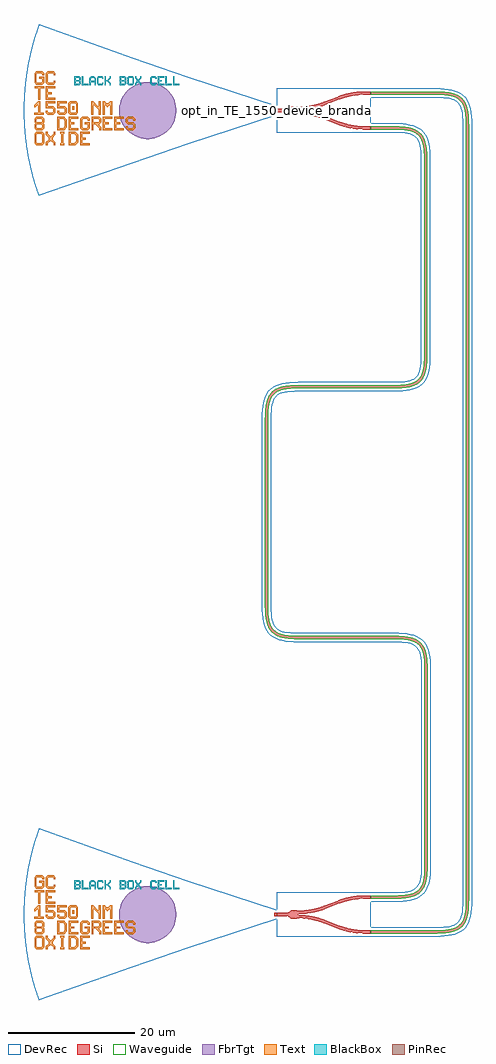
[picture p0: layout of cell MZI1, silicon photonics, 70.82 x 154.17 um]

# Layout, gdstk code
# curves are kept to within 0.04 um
import gdstk
lib = gdstk.Library(unit=1e-6, precision=1e-09)
def R(c, l, rs):  # rectangles x0, y0, x1, y1
    for r in rs: c.add(gdstk.rectangle(r[:2], r[2:], *l))
def P(c, l, *ps):  # polygons
    for p in ps: c.add(gdstk.Polygon(p, *l))
Si = (1, 0)
PinRec = (1, 10)
Waveguide = (1, 99)
Text = (10, 0)
DevRec = (68, 0)
FbrTgt = (81, 0)
BlackBox = (998, 0)

waveguide_26 = lib.new_cell('Waveguide$26')
P(waveguide_26, Si, [(-87.6,66.09),(-87.6,66.59),(-83,66.608),(-81.94,66.703),(-80.965,66.935),(-80.336,67.247),(-79.864,67.673),(-79.516,68.247),(-79.275,68.999),(-79.133,69.955),(-79.081,71.123),(-79.08,102.35),(-79.119,103.557),(-79.276,104.692),(-79.621,105.654),(-79.865,106.018),(-80.163,106.316),(-80.966,106.756),(-81.941,106.988),(-83.613,107.099),(-100.268,107.141),(-101.475,107.308),(-102.323,107.581),(-103.009,107.999),(-103.535,108.579),(-103.85,109.183),(-104.068,109.901),(-104.202,110.737),(-104.271,111.913),(-104.265,142.608),(-104.201,143.574),(-104.067,144.41),(-103.849,145.128),(-103.605,145.621),(-103.202,146.137),(-102.796,146.47),(-102.322,146.73),(-101.628,146.966),(-100.638,147.137),(-99.462,147.206),(-83.89,147.21),(-82.504,147.264),(-81.41,147.439),(-80.586,147.751),(-79.993,148.214),(-79.576,148.867),(-79.368,149.481),(-79.252,150.071),(-79.141,151.743),(-79.14,182.84),(-79.179,184.047),(-79.336,185.182),(-79.577,185.934),(-79.994,186.587),(-80.587,187.05),(-81.278,187.326),(-82.001,187.478),(-83.061,187.573),(-87.6,187.59),(-87.6,188.09),(-83.243,188.081),(-82.1,187.996),(-81.287,187.846),(-80.468,187.551),(-79.907,187.192),(-79.458,186.721),(-79.121,186.138),(-78.885,185.444),(-78.714,184.454),(-78.64,182.84),(-78.641,151.739),(-78.758,149.997),(-78.884,149.357),(-79.12,148.663),(-79.623,147.878),(-80.346,147.313),(-81.286,146.955),(-82.458,146.766),(-83.89,146.71),(-99.452,146.706),(-100.584,146.639),(-101.504,146.482),(-102.118,146.274),(-102.518,146.054),(-102.921,145.707),(-103.234,145.264),(-103.43,144.825),(-103.609,144.157),(-103.765,142.592),(-103.771,111.923),(-103.722,110.965),(-103.58,110.009),(-103.386,109.369),(-103.119,108.857),(-102.693,108.385),(-102.119,108.037),(-101.367,107.796),(-100.232,107.639),(-83.609,107.599),(-81.7,107.455),(-80.533,107.12),(-79.748,106.617),(-79.183,105.894),(-78.955,105.383),(-78.788,104.8),(-78.636,103.782),(-78.58,102.35),(-78.581,71.119),(-78.635,69.909),(-78.787,68.891),(-79.119,67.918),(-79.563,67.258),(-80.169,66.76),(-80.936,66.418),(-81.866,66.209),(-82.978,66.108)])
P(waveguide_26, Waveguide, [(-87.6,66.09),(-87.6,66.59),(-83,66.608),(-81.94,66.703),(-80.965,66.935),(-80.336,67.247),(-79.864,67.673),(-79.516,68.247),(-79.275,68.999),(-79.133,69.955),(-79.081,71.123),(-79.08,102.35),(-79.119,103.557),(-79.276,104.692),(-79.621,105.654),(-79.865,106.018),(-80.163,106.316),(-80.966,106.756),(-81.941,106.988),(-83.613,107.099),(-100.268,107.141),(-101.475,107.308),(-102.323,107.581),(-103.009,107.999),(-103.535,108.579),(-103.85,109.183),(-104.068,109.901),(-104.202,110.737),(-104.271,111.913),(-104.265,142.608),(-104.201,143.574),(-104.067,144.41),(-103.849,145.128),(-103.605,145.621),(-103.202,146.137),(-102.796,146.47),(-102.322,146.73),(-101.628,146.966),(-100.638,147.137),(-99.462,147.206),(-83.89,147.21),(-82.504,147.264),(-81.41,147.439),(-80.586,147.751),(-79.993,148.214),(-79.576,148.867),(-79.368,149.481),(-79.252,150.071),(-79.141,151.743),(-79.14,182.84),(-79.179,184.047),(-79.336,185.182),(-79.577,185.934),(-79.994,186.587),(-80.587,187.05),(-81.278,187.326),(-82.001,187.478),(-83.061,187.573),(-87.6,187.59),(-87.6,188.09),(-83.243,188.081),(-82.1,187.996),(-81.287,187.846),(-80.468,187.551),(-79.907,187.192),(-79.458,186.721),(-79.121,186.138),(-78.885,185.444),(-78.714,184.454),(-78.64,182.84),(-78.641,151.739),(-78.758,149.997),(-78.884,149.357),(-79.12,148.663),(-79.623,147.878),(-80.346,147.313),(-81.286,146.955),(-82.458,146.766),(-83.89,146.71),(-99.452,146.706),(-100.584,146.639),(-101.504,146.482),(-102.118,146.274),(-102.518,146.054),(-102.921,145.707),(-103.234,145.264),(-103.43,144.825),(-103.609,144.157),(-103.765,142.592),(-103.771,111.923),(-103.722,110.965),(-103.58,110.009),(-103.386,109.369),(-103.119,108.857),(-102.693,108.385),(-102.119,108.037),(-101.367,107.796),(-100.232,107.639),(-83.609,107.599),(-81.7,107.455),(-80.533,107.12),(-79.748,106.617),(-79.183,105.894),(-78.955,105.383),(-78.788,104.8),(-78.636,103.782),(-78.58,102.35),(-78.581,71.119),(-78.635,69.909),(-78.787,68.891),(-79.119,67.918),(-79.563,67.258),(-80.169,66.76),(-80.936,66.418),(-81.866,66.209),(-82.978,66.108)])
P(waveguide_26, DevRec, [(-87.6,65.59),(-87.6,67.09),(-83.18,67.101),(-82.085,67.188),(-81.254,67.366),(-80.671,67.626),(-80.272,67.965),(-79.975,68.445),(-79.755,69.147),(-79.622,70.11),(-79.58,71.34),(-79.58,102.35),(-79.623,103.581),(-79.756,104.544),(-79.976,105.246),(-80.273,105.726),(-80.455,105.908),(-80.935,106.205),(-81.255,106.325),(-82.086,106.503),(-83.83,106.6),(-99.026,106.6),(-100.376,106.647),(-101.535,106.81),(-102.535,107.128),(-103.375,107.653),(-104.014,108.4),(-104.248,108.841),(-104.566,109.841),(-104.765,111.649),(-104.764,142.662),(-104.565,144.47),(-104.247,145.47),(-104.013,145.911),(-103.722,146.31),(-102.975,146.949),(-102.534,147.183),(-101.534,147.501),(-100.375,147.664),(-99.025,147.71),(-82.659,147.753),(-81.696,147.886),(-80.994,148.106),(-80.514,148.403),(-80.332,148.585),(-80.035,149.065),(-79.737,150.216),(-79.64,151.96),(-79.64,182.84),(-79.683,184.071),(-79.816,185.034),(-80.036,185.736),(-80.333,186.216),(-80.732,186.555),(-81.315,186.815),(-82.146,186.993),(-83.241,187.08),(-87.6,187.09),(-87.6,188.59),(-83.189,188.58),(-81.938,188.479),(-80.863,188.245),(-79.94,187.829),(-79.541,187.538),(-79.193,187.19),(-78.668,186.35),(-78.486,185.868),(-78.252,184.793),(-78.14,182.84),(-78.14,151.96),(-78.251,150.008),(-78.485,148.933),(-78.667,148.451),(-79.192,147.611),(-79.939,146.972),(-80.862,146.556),(-81.38,146.42),(-82.539,146.257),(-83.889,146.21),(-99.025,146.21),(-100.255,146.168),(-101.218,146.035),(-102.183,145.675),(-102.4,145.518),(-102.739,145.119),(-103.099,144.154),(-103.264,142.61),(-103.265,111.701),(-103.1,110.157),(-102.74,109.192),(-102.401,108.793),(-101.921,108.496),(-101.219,108.276),(-100.256,108.143),(-83.83,108.1),(-82.48,108.054),(-81.321,107.891),(-80.321,107.573),(-79.481,107.048),(-78.842,106.301),(-78.608,105.86),(-78.29,104.86),(-78.127,103.701),(-78.08,102.35),(-78.08,71.34),(-78.126,69.99),(-78.289,68.831),(-78.607,67.831),(-79.132,66.991),(-79.879,66.352),(-80.802,65.936),(-81.877,65.702),(-83.128,65.601)])
waveguide_26.add(gdstk.FlexPath([(-87.59,187.84),(-87.61,187.84)], 0.5, ends="flush", simple_path=True, layer=1, datatype=10))  # PinRec
waveguide_26.add(gdstk.FlexPath([(-87.59,66.34),(-87.61,66.34)], 0.5, ends="flush", simple_path=True, layer=1, datatype=10))  # PinRec
waveguide_26.add(gdstk.Label('opt1', (-87.6,187.84), layer=1, texttype=10))
waveguide_26.add(gdstk.Label('opt2', (-87.6,66.34), layer=1, texttype=10))
waveguide_26.add(gdstk.Label('Lumerical_INTERCONNECT_library=Design kits/EBeam', (-87.6,187.74), layer=68, texttype=0))
waveguide_26.add(gdstk.Label('Component=ebeam_wg_integral_1550', (-87.6,187.94), layer=68, texttype=0))
waveguide_26.add(gdstk.Label('cellName=Waveguide', (-87.6,188.04), layer=68, texttype=0))
waveguide_26.add(gdstk.Label('Length=180.000 (microns)', (-87.6,187.24), layer=68, texttype=0))
waveguide_26.add(gdstk.Label('waveguide_type=Strip TE 1550 nm, w=500 nm', (-87.6,187.64), layer=68, texttype=0))

waveguide_22 = lib.new_cell('Waveguide$22')
P(waveguide_22, Si, [(-87.6,60.59),(-87.6,61.09),(-76.871,61.095),(-75.739,61.162),(-74.819,61.319),(-74.205,61.527),(-73.805,61.747),(-73.476,62.017),(-73.205,62.347),(-72.813,63.228),(-72.602,64.455),(-72.549,65.84),(-72.549,188.34),(-72.64,190.069),(-72.894,191.205),(-73.334,192.008),(-73.632,192.306),(-73.996,192.55),(-74.435,192.746),(-75.103,192.925),(-76.093,193.052),(-77.082,193.089),(-87.6,193.09),(-87.6,193.59),(-77.078,193.589),(-75.868,193.535),(-74.85,193.383),(-74.132,193.165),(-73.419,192.773),(-72.948,192.324),(-72.589,191.763),(-72.294,190.944),(-72.144,190.131),(-72.059,188.988),(-72.049,65.84),(-72.104,64.409),(-72.376,62.947),(-72.588,62.418),(-72.866,61.96),(-73.216,61.574),(-73.638,61.26),(-74.131,61.016),(-74.695,60.835),(-75.685,60.664),(-76.861,60.595)])
P(waveguide_22, Waveguide, [(-87.6,60.59),(-87.6,61.09),(-76.871,61.095),(-75.739,61.162),(-74.819,61.319),(-74.205,61.527),(-73.805,61.747),(-73.476,62.017),(-73.205,62.347),(-72.813,63.228),(-72.602,64.455),(-72.549,65.84),(-72.549,188.34),(-72.64,190.069),(-72.894,191.205),(-73.334,192.008),(-73.632,192.306),(-73.996,192.55),(-74.435,192.746),(-75.103,192.925),(-76.093,193.052),(-77.082,193.089),(-87.6,193.09),(-87.6,193.59),(-77.078,193.589),(-75.868,193.535),(-74.85,193.383),(-74.132,193.165),(-73.419,192.773),(-72.948,192.324),(-72.589,191.763),(-72.294,190.944),(-72.144,190.131),(-72.059,188.988),(-72.049,65.84),(-72.104,64.409),(-72.376,62.947),(-72.588,62.418),(-72.866,61.96),(-73.216,61.574),(-73.638,61.26),(-74.131,61.016),(-74.695,60.835),(-75.685,60.664),(-76.861,60.595)])
P(waveguide_22, DevRec, [(-87.6,60.09),(-87.6,61.59),(-76.649,61.601),(-75.554,61.688),(-74.723,61.866),(-74.14,62.126),(-73.923,62.283),(-73.584,62.682),(-73.224,63.647),(-73.091,64.61),(-73.049,65.84),(-73.049,188.34),(-73.147,190.085),(-73.325,190.916),(-73.445,191.236),(-73.742,191.716),(-73.924,191.898),(-74.404,192.195),(-75.555,192.493),(-77.3,192.59),(-87.6,192.59),(-87.6,194.09),(-77.298,194.09),(-75.949,194.044),(-74.79,193.881),(-73.79,193.563),(-72.95,193.038),(-72.602,192.69),(-72.311,192.291),(-71.895,191.368),(-71.661,190.293),(-71.56,189.042),(-71.549,65.84),(-71.595,64.49),(-71.758,63.331),(-71.894,62.813),(-72.31,61.89),(-72.949,61.143),(-73.348,60.852),(-74.271,60.436),(-75.346,60.202),(-76.597,60.101)])
waveguide_22.add(gdstk.FlexPath([(-87.59,193.34),(-87.61,193.34)], 0.5, ends="flush", simple_path=True, layer=1, datatype=10))  # PinRec
waveguide_22.add(gdstk.FlexPath([(-87.59,60.84),(-87.61,60.84)], 0.5, ends="flush", simple_path=True, layer=1, datatype=10))  # PinRec
waveguide_22.add(gdstk.Label('opt1', (-87.6,193.34), layer=1, texttype=10))
waveguide_22.add(gdstk.Label('opt2', (-87.6,60.84), layer=1, texttype=10))
waveguide_22.add(gdstk.Label('Lumerical_INTERCONNECT_library=Design kits/EBeam', (-87.6,193.24), layer=68, texttype=0))
waveguide_22.add(gdstk.Label('Component=ebeam_wg_integral_1550', (-87.6,193.44), layer=68, texttype=0))
waveguide_22.add(gdstk.Label('cellName=Waveguide', (-87.6,193.54), layer=68, texttype=0))
waveguide_22.add(gdstk.Label('Spice_param:wg_length=0.000159999 wg_width=5e-07 points="[[-87.6,193.34],[-72.299,193.34],[-72.299,60.84],[-87.6,60.84]]" radius=5e-06', (-87.6,193.34), layer=68, texttype=0))
waveguide_22.add(gdstk.Label('Length=159.999 (microns)', (-87.6,192.74), layer=68, texttype=0))
waveguide_22.add(gdstk.Label('waveguide_type=Strip TE 1550 nm, w=500 nm', (-87.6,193.14), layer=68, texttype=0))

ebeam_y_1550_1 = lib.new_cell('ebeam_y_1550$1')
R(ebeam_y_1550_1, Si, [(6.5,-3,7.4,-2.5), (-7.4,-0.25,-6,0.25), (6.5,2.5,7.4,3)])
P(ebeam_y_1550_1, Si, [(6.458,-3),(6.237,-2.997),(6.237,-2.497),(6.5,-2.5),(6.5,-3)],
  [(5.033,-2.908),(3.59,-2.634),(2.265,-2.21),(2.445,-1.744),(3.731,-2.154),(5.033,-2.404)],
  [(6.233,-2.997),(5.033,-2.908),(5.033,-2.404),(6.237,-2.497)],
  [(2.265,-2.21),(0.055,-1.356),(0.235,-0.89),(2.445,-1.744)],
  [(-0.762,-1.076),(-2.334,-0.724),(-4,-0.6),(-4,-0.1),(-2.381,-0.212),(-0.762,-0.555)],
  [(0.055,-1.356),(-0.762,-1.076),(-0.762,-0.555),(0.235,-0.89)],
  [(6.237,2.497),(6.237,2.997),(6.5,3),(6.5,2.5)],
  [(2.445,1.744),(2.267,2.211),(3.59,2.634),(5.033,2.908),(5.033,2.404),(3.731,2.154)],
  [(5.033,2.404),(5.033,2.908),(6.237,2.997),(6.237,2.497)],
  [(0.235,0.89),(0.055,1.356),(2.265,2.21),(2.445,1.744)],
  [(-4,0.1),(-4,0.6),(-2.334,0.724),(-0.762,1.076),(-0.762,0.555),(-2.381,0.212)],
  [(-0.762,0.555),(-0.762,1.076),(0.055,1.356),(0.235,0.89)],
  [(-5.122,-0.662),(-5.442,-0.374),(-5.808,-0.255),(-6,-0.25),(-6,0.25),(-5.817,0.253),(-5.442,0.374),(-5.122,0.662)],
  [(-4.957,-0.703),(-5.122,-0.662),(-5.122,0.662),(-4.538,0.703),(-4,0.6),(-4,-0.6),(-4.509,-0.701)])
R(ebeam_y_1550_1, DevRec, [(-7.4,-3.5,7.4,3.5)])
ebeam_y_1550_1.add(gdstk.FlexPath([(-7.35,0),(-7.45,0)], 0.5, ends="flush", simple_path=True, layer=1, datatype=10))  # PinRec
ebeam_y_1550_1.add(gdstk.FlexPath([(7.35,2.75),(7.45,2.75)], 0.5, ends="flush", simple_path=True, layer=1, datatype=10))  # PinRec
ebeam_y_1550_1.add(gdstk.FlexPath([(7.35,-2.75),(7.45,-2.75)], 0.5, ends="flush", simple_path=True, layer=1, datatype=10))  # PinRec
ebeam_y_1550_1.add(gdstk.Label('opt2', (7.4,2.75), layer=1, texttype=10))
ebeam_y_1550_1.add(gdstk.Label('opt3', (7.4,-2.75), layer=1, texttype=10))
ebeam_y_1550_1.add(gdstk.Label('opt1', (-7.4,0), layer=1, texttype=10))
ebeam_y_1550_1.add(gdstk.Label('Component=ebeam_y_1550', (-6,1.5), layer=68, texttype=0))
ebeam_y_1550_1.add(gdstk.Label('Lumerical_INTERCONNECT_library=Design kits/ebeam', (-6.86,-2.19), layer=68, texttype=0))
ebeam_y_1550_1.add(gdstk.Label('Ref: Y Zhang, Opt. Express, 21/1, 2013', (-7.5,-1), layer=10, texttype=0))

text = lib.new_cell('TEXT')
P(text, BlackBox, [(0,0),(0,1.4),(0.8,1.4),(1,1.2),(0.2,1.2),(0.2,0.8),(0.7,0.8),(0.8,0.9),(0.8,1.1),(0.7,1.2),(1,1.2),(1,0.8),(0.9,0.7),(1,0.6),(0.2,0.6),(0.2,0.2),(0.7,0.2),(0.8,0.3),(0.8,0.5),(0.7,0.6),(1,0.6),(1,0.2),(0.8,0)],
  [(1.2,0),(1.2,1.4),(1.4,1.4),(1.4,0.2),(2.2,0.2),(2.2,0)],
  [(2.4,0),(2.4,1.1),(2.7,1.4),(3.1,1.4),(3.3,1.2),(2.8,1.2),(2.6,1),(2.6,0.7),(3.2,0.7),(3.2,1),(3,1.2),(3.3,1.2),(3.4,1.1),(3.4,0),(3.2,0),(3.2,0.5),(2.6,0.5),(2.6,0)],
  [(3.8,0),(3.6,0.2),(3.6,1.2),(3.8,1.4),(4.4,1.4),(4.6,1.2),(4.6,1),(4.4,1),(4.4,1.1),(4.3,1.2),(3.9,1.2),(3.8,1.1),(3.8,0.3),(3.9,0.2),(4.3,0.2),(4.4,0.3),(4.4,0.4),(4.6,0.4),(4.6,0.2),(4.4,0)],
  [(4.8,0),(4.8,1.4),(5,1.4),(5,0.8),(5.2,0.8),(5.6,1.2),(5.6,1.4),(5.8,1.4),(5.8,1.1),(5.4,0.7),(5.8,0.3),(5.8,0),(5.6,0),(5.6,0.2),(5.2,0.6),(5,0.6),(5,0)],
  [(7.2,0),(7.2,1.4),(8,1.4),(8.2,1.2),(7.4,1.2),(7.4,0.8),(7.9,0.8),(8,0.9),(8,1.1),(7.9,1.2),(8.2,1.2),(8.2,0.8),(8.1,0.7),(8.2,0.6),(7.4,0.6),(7.4,0.2),(7.9,0.2),(8,0.3),(8,0.5),(7.9,0.6),(8.2,0.6),(8.2,0.2),(8,0)],
  [(8.6,0),(8.4,0.2),(8.4,1.2),(8.6,1.4),(9.2,1.4),(9.4,1.2),(9.4,0.7),(9.2,0.7),(9.2,1.1),(9.1,1.2),(8.7,1.2),(8.6,1.1),(8.6,0.3),(8.7,0.2),(9.1,0.2),(9.2,0.3),(9.2,0.7),(9.4,0.7),(9.4,0.2),(9.2,0)],
  [(9.6,0),(9.6,0.3),(9.9,0.6),(9.9,0.8),(9.6,1.1),(9.6,1.4),(9.8,1.4),(9.8,1.2),(10.1,0.9),(10.4,1.2),(10.4,1.4),(10.6,1.4),(10.6,1.1),(10.3,0.8),(10.3,0.6),(10.6,0.3),(10.6,0),(10.4,0),(10.4,0.2),(10.1,0.5),(9.8,0.2),(9.8,0)],
  [(12.2,0),(12,0.2),(12,1.2),(12.2,1.4),(12.8,1.4),(13,1.2),(13,1),(12.8,1),(12.8,1.1),(12.7,1.2),(12.3,1.2),(12.2,1.1),(12.2,0.3),(12.3,0.2),(12.7,0.2),(12.8,0.3),(12.8,0.4),(13,0.4),(13,0.2),(12.8,0)],
  [(13.2,0),(13.2,1.4),(14.2,1.4),(14.2,1.2),(13.4,1.2),(13.4,0.8),(13.8,0.8),(13.8,0.6),(13.4,0.6),(13.4,0.2),(14.2,0.2),(14.2,0)],
  [(14.4,0),(14.4,1.4),(14.6,1.4),(14.6,0.2),(15.4,0.2),(15.4,0)],
  [(15.6,0),(15.6,1.4),(15.8,1.4),(15.8,0.2),(16.6,0.2),(16.6,0)])

gc_te_1550_8degoxide_bb = lib.new_cell('GC_TE_1550_8degOxide_BB')
R(gc_te_1550_8degoxide_bb, Si, [(-0.4,-0.25,0,0.25)])
R(gc_te_1550_8degoxide_bb, Text, [(-32.313,0.092,-32.013,0.692)])
P(gc_te_1550_8degoxide_bb, Text, [(-37.67,1.71),(-37.67,3.51),(-38.27,3.51),(-38.27,3.81),(-36.77,3.81),(-36.77,3.51),(-37.37,3.51),(-37.37,1.71)],
  [(-37.97,-5.49),(-38.27,-5.19),(-38.27,-3.69),(-37.97,-3.39),(-37.07,-3.39),(-36.77,-3.69),(-36.77,-4.44),(-37.07,-4.44),(-37.07,-3.84),(-37.22,-3.69),(-37.82,-3.69),(-37.97,-3.84),(-37.97,-5.04),(-37.82,-5.19),(-37.22,-5.19),(-37.07,-5.04),(-37.07,-4.44),(-36.77,-4.44),(-36.77,-5.19),(-37.07,-5.49)],
  [(-31.07,-5.49),(-31.07,-3.39),(-29.57,-3.39),(-29.57,-3.69),(-30.77,-3.69),(-30.77,-4.29),(-30.17,-4.29),(-30.17,-4.59),(-30.77,-4.59),(-30.77,-5.19),(-29.57,-5.19),(-29.57,-5.49)],
  [(-32.87,-3.09),(-32.87,-0.99),(-31.37,-0.99),(-31.37,-1.29),(-32.57,-1.29),(-32.57,-1.89),(-31.97,-1.89),(-31.97,-2.19),(-32.57,-2.19),(-32.57,-2.79),(-31.37,-2.79),(-31.37,-3.09)],
  [(-27.47,-3.09),(-27.47,-0.99),(-25.97,-0.99),(-25.97,-1.29),(-27.17,-1.29),(-27.17,-1.89),(-26.57,-1.89),(-26.57,-2.19),(-27.17,-2.19),(-27.17,-2.79),(-25.97,-2.79),(-25.97,-3.09)],
  [(-25.67,-3.09),(-25.67,-0.99),(-24.17,-0.99),(-24.17,-1.29),(-25.37,-1.29),(-25.37,-1.89),(-24.77,-1.89),(-24.77,-2.19),(-25.37,-2.19),(-25.37,-2.79),(-24.17,-2.79),(-24.17,-3.09)],
  [(-36.47,1.71),(-36.47,3.81),(-34.97,3.81),(-34.97,3.51),(-36.17,3.51),(-36.17,2.91),(-35.57,2.91),(-35.57,2.61),(-36.17,2.61),(-36.17,2.01),(-34.97,2.01),(-34.97,1.71)],
  [(-29.313,-0.658),(-29.313,1.442),(-29.013,1.442),(-28.263,0.692),(-28.113,0.692),(-28.113,1.442),(-27.813,1.442),(-27.813,-0.658),(-28.113,-0.658),(-28.113,0.092),(-28.863,0.842),(-29.013,0.842),(-29.013,-0.658)],
  [(-34.22,-5.49),(-34.22,-5.19),(-34.07,-5.19),(-34.07,-3.69),(-34.22,-3.69),(-34.22,-3.39),(-33.62,-3.39),(-33.62,-3.69),(-33.77,-3.69),(-33.77,-5.19),(-33.62,-5.19),(-33.62,-5.49)],
  [(-36.17,4.11),(-36.47,4.41),(-36.47,5.91),(-36.17,6.21),(-35.27,6.21),(-34.97,5.91),(-34.97,5.61),(-35.27,5.61),(-35.27,5.76),(-35.42,5.91),(-36.02,5.91),(-36.17,5.76),(-36.17,4.56),(-36.02,4.41),(-35.42,4.41),(-35.27,4.56),(-35.27,4.71),(-34.97,4.71),(-34.97,4.41),(-35.27,4.11)],
  [(-27.513,-0.658),(-27.513,1.442),(-27.213,1.442),(-26.913,1.142),(-26.613,1.142),(-26.313,1.442),(-26.013,1.442),(-26.013,-0.658),(-26.313,-0.658),(-26.313,0.842),(-26.463,0.842),(-26.763,0.542),(-27.063,0.842),(-27.213,0.842),(-27.213,-0.658)],
  [(-32.613,-0.658),(-32.913,-0.358),(-32.913,1.142),(-32.613,1.442),(-31.713,1.442),(-31.413,1.142),(-32.463,1.142),(-32.613,0.992),(-32.613,-0.208),(-32.463,-0.358),(-31.863,-0.358),(-31.713,-0.208),(-31.713,0.992),(-31.863,1.142),(-31.413,1.142),(-31.413,-0.358),(-31.713,-0.658)],
  [(-32.87,-5.49),(-32.87,-3.39),(-31.82,-3.39),(-31.52,-3.69),(-32.57,-3.69),(-32.57,-5.19),(-31.97,-5.19),(-31.67,-4.89),(-31.67,-3.99),(-31.97,-3.69),(-31.52,-3.69),(-31.37,-3.84),(-31.37,-5.04),(-31.82,-5.49)],
  [(-34.67,-3.09),(-34.67,-0.99),(-33.62,-0.99),(-33.32,-1.29),(-34.37,-1.29),(-34.37,-2.79),(-33.77,-2.79),(-33.47,-2.49),(-33.47,-1.59),(-33.77,-1.29),(-33.32,-1.29),(-33.17,-1.44),(-33.17,-2.64),(-33.62,-3.09)],
  [(-23.57,-3.09),(-23.87,-2.79),(-23.87,-2.49),(-23.57,-2.49),(-23.57,-2.64),(-23.42,-2.79),(-22.82,-2.79),(-22.67,-2.64),(-22.67,-2.34),(-22.82,-2.19),(-23.57,-2.19),(-23.87,-1.89),(-23.87,-1.29),(-23.57,-0.99),(-22.67,-0.99),(-22.37,-1.29),(-22.37,-1.59),(-22.67,-1.59),(-22.67,-1.44),(-22.82,-1.29),(-23.42,-1.29),(-23.57,-1.44),(-23.57,-1.74),(-23.42,-1.89),(-22.67,-1.89),(-22.37,-2.19),(-22.37,-2.79),(-22.67,-3.09)],
  [(-36.213,-0.658),(-36.513,-0.358),(-36.513,-0.058),(-36.213,-0.058),(-36.213,-0.208),(-36.063,-0.358),(-35.463,-0.358),(-35.313,-0.208),(-35.313,0.242),(-35.463,0.392),(-36.513,0.392),(-36.513,1.442),(-35.013,1.442),(-35.013,1.142),(-36.213,1.142),(-36.213,0.692),(-35.313,0.692),(-35.013,0.392),(-35.013,-0.358),(-35.313,-0.658)],
  [(-34.413,-0.658),(-34.713,-0.358),(-34.713,-0.058),(-34.413,-0.058),(-34.413,-0.208),(-34.263,-0.358),(-33.663,-0.358),(-33.513,-0.208),(-33.513,0.242),(-33.663,0.392),(-34.713,0.392),(-34.713,1.442),(-33.213,1.442),(-33.213,1.142),(-34.413,1.142),(-34.413,0.692),(-33.513,0.692),(-33.213,0.392),(-33.213,-0.358),(-33.513,-0.658)],
  [(-37.97,-3.09),(-38.27,-2.79),(-38.27,-2.19),(-38.12,-2.04),(-38.27,-1.89),(-38.27,-1.29),(-37.97,-0.99),(-37.07,-0.99),(-36.77,-1.29),(-37.82,-1.29),(-37.97,-1.44),(-37.97,-1.74),(-37.82,-1.89),(-37.22,-1.89),(-37.07,-1.74),(-37.07,-1.44),(-37.22,-1.29),(-36.77,-1.29),(-36.77,-1.89),(-36.92,-2.04),(-36.77,-2.19),(-37.82,-2.19),(-37.97,-2.34),(-37.97,-2.64),(-37.82,-2.79),(-37.22,-2.79),(-37.07,-2.64),(-37.07,-2.34),(-37.22,-2.19),(-36.77,-2.19),(-36.77,-2.79),(-37.07,-3.09)],
  [(-38.313,-0.658),(-38.313,-0.358),(-37.713,-0.358),(-37.713,0.842),(-37.863,0.842),(-38.163,0.542),(-38.313,0.542),(-38.313,0.842),(-37.713,1.442),(-37.413,1.442),(-37.413,-0.358),(-36.813,-0.358),(-36.813,-0.658)],
  [(-36.47,-5.49),(-36.47,-5.04),(-36.02,-4.59),(-36.02,-4.29),(-36.47,-3.84),(-36.47,-3.39),(-36.17,-3.39),(-36.17,-3.69),(-35.72,-4.14),(-35.27,-3.69),(-35.27,-3.39),(-34.97,-3.39),(-34.97,-3.84),(-35.42,-4.29),(-35.42,-4.59),(-34.97,-5.04),(-34.97,-5.49),(-35.27,-5.49),(-35.27,-5.19),(-35.72,-4.74),(-36.17,-5.19),(-36.17,-5.49)],
  [(-30.77,-3.09),(-31.07,-2.79),(-31.07,-1.29),(-30.77,-0.99),(-29.87,-0.99),(-29.57,-1.29),(-29.57,-1.59),(-29.87,-1.59),(-29.87,-1.44),(-30.02,-1.29),(-30.62,-1.29),(-30.77,-1.44),(-30.77,-2.64),(-30.62,-2.79),(-30.02,-2.79),(-29.87,-2.64),(-29.87,-2.19),(-30.32,-2.19),(-30.32,-1.89),(-29.57,-1.89),(-29.57,-2.79),(-29.87,-3.09)],
  [(-37.97,4.11),(-38.27,4.41),(-38.27,5.91),(-37.97,6.21),(-37.07,6.21),(-36.77,5.91),(-36.77,5.61),(-37.07,5.61),(-37.07,5.76),(-37.22,5.91),(-37.82,5.91),(-37.97,5.76),(-37.97,4.56),(-37.82,4.41),(-37.22,4.41),(-37.07,4.56),(-37.07,5.01),(-37.52,5.01),(-37.52,5.31),(-36.77,5.31),(-36.77,4.41),(-37.07,4.11)],
  [(-29.27,-3.09),(-29.27,-0.99),(-28.07,-0.99),(-27.77,-1.29),(-28.97,-1.29),(-28.97,-1.89),(-28.22,-1.89),(-28.07,-1.74),(-28.07,-1.44),(-28.22,-1.29),(-27.77,-1.29),(-27.77,-1.89),(-28.07,-2.19),(-28.07,-2.34),(-27.77,-2.64),(-27.77,-3.09),(-28.07,-3.09),(-28.07,-2.79),(-28.67,-2.19),(-28.97,-2.19),(-28.97,-3.09)])
P(gc_te_1550_8degoxide_bb, DevRec, [(-37.607,-13.5),(-38.627,-10.245),(-39.378,-6.832),(-39.647,-5.058),(-39.835,-3.274),(-39.969,0.224),(-39.812,3.541),(-39.331,7.097),(-38.557,10.505),(-37.546,13.669),(-22.8,8.353),(-14.109,5.36),(0,0.75),(0,-0.75),(-14.109,-5.36)])
P(gc_te_1550_8degoxide_bb, FbrTgt, [(-20.621,-4.5),(-21.495,-4.37),(-22.326,-4.073),(-23.084,-3.619),(-23.738,-3.026),(-24.264,-2.316),(-24.642,-1.518),(-24.857,-0.661),(-24.9,0.221),(-24.77,1.095),(-24.473,1.926),(-24.019,2.684),(-23.426,3.338),(-22.716,3.864),(-21.918,4.242),(-21.061,4.457),(-20.179,4.5),(-19.305,4.37),(-18.474,4.073),(-17.716,3.619),(-17.062,3.026),(-16.536,2.316),(-16.158,1.518),(-15.943,0.661),(-15.9,-0.221),(-16.03,-1.095),(-16.327,-1.926),(-16.781,-2.684),(-17.374,-3.338),(-18.084,-3.864),(-18.882,-4.242),(-19.739,-4.457)])
gc_te_1550_8degoxide_bb.add(gdstk.FlexPath([(-0.01,0),(0.01,0)], 0.5, ends="flush", simple_path=True, layer=1, datatype=10))  # PinRec
gc_te_1550_8degoxide_bb.add(gdstk.Reference(text, (-32,4)))
gc_te_1550_8degoxide_bb.add(gdstk.Label('opt1', (0,0), layer=1, texttype=10))
gc_te_1550_8degoxide_bb.add(gdstk.Label('Lumerical_INTERCONNECT_library=Design kits/ebeam', (-29,-7), layer=68, texttype=0))
gc_te_1550_8degoxide_bb.add(gdstk.Label('Component=GC_TE_1550_8degOxide_BB', (-28,-5), layer=68, texttype=0))

mzi1 = lib.new_cell('MZI1')
mzi1.add(gdstk.Reference(waveguide_26, (142.369,-50.09)))
mzi1.add(gdstk.Reference(waveguide_22, (142.369,-50.09)))
mzi1.add(gdstk.Reference(ebeam_y_1550_1, (47.369,140.5)))
mzi1.add(gdstk.Reference(ebeam_y_1550_1, (47.369,13.5)))
mzi1.add(gdstk.Reference(gc_te_1550_8degoxide_bb, (39.969,140.5)))
mzi1.add(gdstk.Reference(gc_te_1550_8degoxide_bb, (39.969,13.5)))
mzi1.add(gdstk.Label('opt_in_TE_1550_device_brandaofg_MZI1', (39.969,140.5), layer=10, texttype=0))

lib.write_gds('MZI1.gds')
